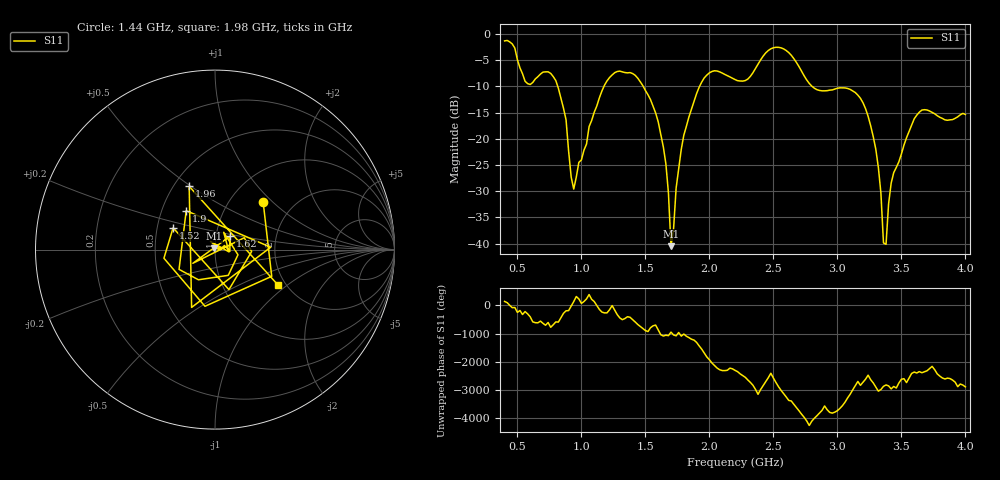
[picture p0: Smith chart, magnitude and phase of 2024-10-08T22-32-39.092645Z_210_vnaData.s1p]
! Created with skrf (http://scikit-rf.org).
# Hz S RI R 50.0
!freq ReS11 ImS11
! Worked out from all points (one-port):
!   181 points, 400 MHz to 4 GHz, reference 50 ohm
!   lowest |S11| = -40.5 dB at 1.7 GHz (marker M1), VSWR 1.02, Z = 49.4 + j0.693 ohm
!   |S11| at or under -10 dB: 815 MHz to 1.176 GHz (361.4 MHz wide, 36.3 % of centre); 1.483 GHz to 1.923 GHz (440.6 MHz wide, 25.9 % of centre); 2.802 GHz to end of sweep
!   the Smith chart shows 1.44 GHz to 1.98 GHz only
!   S11 on the Smith chart (normalised r, x): 1.44 GHz: 1.41, +0.88; 1.52 GHz: 0.61, +0.16; 1.62 GHz: 1.17, +0.17; 1.9 GHz: 0.67, +0.31; 1.96 GHz: 0.60, +0.49; 1.98 GHz: 1.82, -0.87
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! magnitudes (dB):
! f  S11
! 400 MHz  -1.3
! 580 MHz  -9.5
! 760 MHz  -7.5
! 860 MHz  -14.2
! 940 MHz  -29.6
! 1.16 GHz  -10.9
! 1.3 GHz  -7.1
! 1.44 GHz  -8.4
! 1.52 GHz  -11.6
! 1.62 GHz  -19.1
! 1.66 GHz  -24.8
! 1.7 GHz  -40.5
! 1.76 GHz  -25.7
! 1.9 GHz  -11.4
! 1.96 GHz  -8.4
! 1.98 GHz  -7.9
! 2.2 GHz  -8.7
! 2.5 GHz  -2.6
! 2.66 GHz  -4.7
! 2.84 GHz  -10.6
! 3.1 GHz  -10.6
! 3.28 GHz  -19.6
! 3.34 GHz  -30.4
! 3.36 GHz  -39.9
! 3.38 GHz  -40.2
! 3.42 GHz  -28.5
! 3.56 GHz  -18.6
! 4 GHz  -15.4
